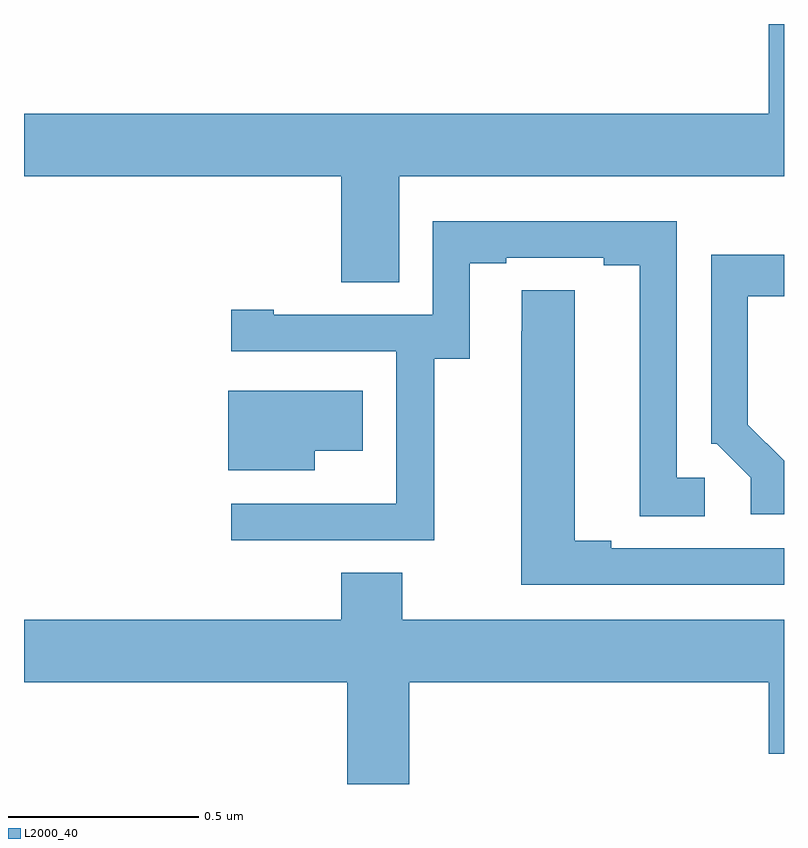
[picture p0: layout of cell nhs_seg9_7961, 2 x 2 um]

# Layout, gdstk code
import gdstk
lib = gdstk.Library(unit=1e-6, precision=1e-09)
def P(c, l, *ps):  # polygons
    for p in ps: c.add(gdstk.Polygon(p, *l))
L2000_40 = (2000, 40)

nhs_seg9_7961 = lib.new_cell('nhs_seg9_7961')
P(nhs_seg9_7961, L2000_40, [(211.987,1183.1),(213,1183.1),(213,1183.5),(212.96,1183.5),(212.96,1183.264),(211,1183.264),(211,1183.1),(211.835,1183.1),(211.835,1182.82),(211.987,1182.82)],
  [(212.079,1182.619),(212.173,1182.619),(212.173,1182.87),(212.269,1182.87),(212.269,1182.885),(212.525,1182.885),(212.525,1182.865),(212.621,1182.865),(212.621,1182.205),(212.791,1182.205),(212.791,1182.306),(212.718,1182.306),(212.718,1182.981),(212.076,1182.981),(212.076,1182.735),(211.657,1182.735),(211.657,1182.748),(211.545,1182.748),(211.545,1182.639),(211.98,1182.639),(211.98,1182.238),(211.979,1182.238),(211.979,1182.237),(211.545,1182.237),(211.545,1182.141),(212.079,1182.141)],
  [(213,1182.351),(212.905,1182.446),(212.905,1182.783),(213,1182.783),(213,1182.893),(212.808,1182.893),(212.808,1182.396),(212.823,1182.396),(212.913,1182.306),(212.913,1182.21),(213,1182.21)],
  [(213,1182.12),(212.545,1182.12),(212.545,1182.14),(212.449,1182.14),(212.449,1182.8),(212.31,1182.8),(212.31,1182.692),(212.309,1182.692),(212.309,1182.024),(213,1182.024)],
  [(211.765,1182.377),(211.891,1182.377),(211.891,1182.535),(211.538,1182.535),(211.538,1182.326),(211.765,1182.326)],
  [(212.014,1181.768),(212.96,1181.768),(212.96,1181.58),(213,1181.58),(213,1181.932),(211.995,1181.932),(211.995,1182.056),(211.835,1182.056),(211.835,1181.932),(211,1181.932),(211,1181.768),(211.85,1181.768),(211.85,1181.5),(212.014,1181.5)])

lib.write_gds('nhs_seg9_7961.gds')
